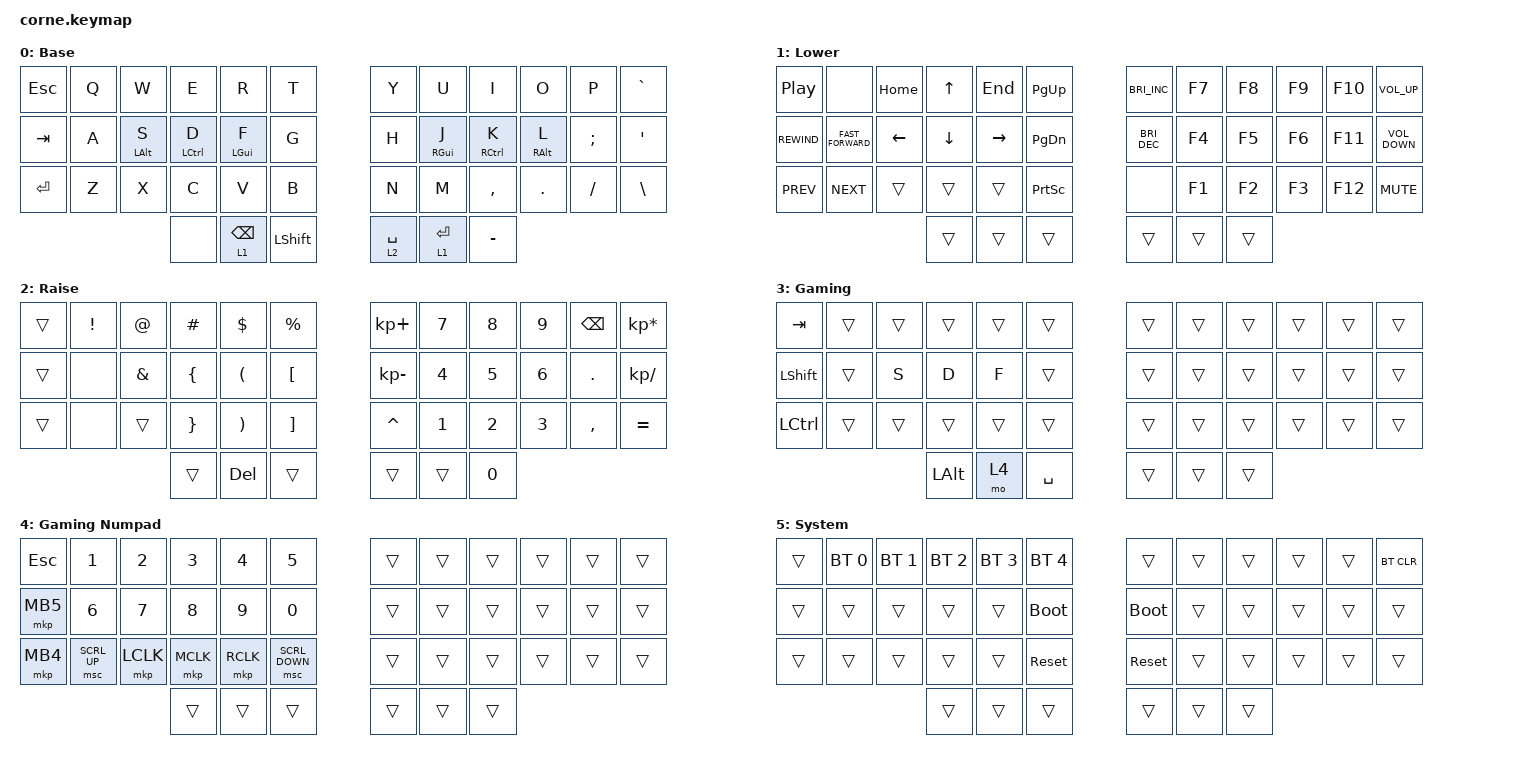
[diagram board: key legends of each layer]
/*
 * Copyright (c) 2020 The ZMK Contributors
 *
 * SPDX-License-Identifier: MIT
 */

#include <behaviors.dtsi>
#include <dt-bindings/zmk/bt.h>
#include <dt-bindings/zmk/keys.h>
#include <dt-bindings/zmk/pointing.h>

/ {
    behaviors {
        hrm_left: hrm_left {
            compatible = "zmk,behavior-hold-tap";
            display-name = "HRM_LEFT";
            bindings = <&kp>, <&kp>;

            #binding-cells = <2>;
            flavor = "balanced";
            tapping-term-ms = <280>;
            quick-tap-ms = <175>;
            require-prior-idle-ms = <150>;
            hold-trigger-on-release;
            hold-trigger-key-positions = <6 8 6 7 18 19 30 31 39 40 6 7 8 9 18 19 20 21 30 31 32 33 39 40 41 6 7 8 9 10 11 18 19 20 21 22 23 30 31 32 33 34 35 39>;
            label = "krm_";
        };

        hrm_right: hrm_right {
            compatible = "zmk,behavior-hold-tap";
            display-name = "HRM_RIGHT";
            bindings = <&kp>, <&kp>;

            #binding-cells = <2>;
            flavor = "balanced";
            tapping-term-ms = <280>;
            quick-tap-ms = <175>;
            require-prior-idle-ms = <150>;
            hold-trigger-key-positions = <0 1 2 3 4 5 12 13 14 15 16 17 24 25 26 27 28 29 36 37 38>;
            hold-trigger-on-release;
        };

        lt_thumbs: lt_thumbs {
            compatible = "zmk,behavior-hold-tap";
            display-name = "LT_THUMBS";
            bindings = <&mo>, <&kp>;

            #binding-cells = <2>;
            flavor = "tap-preferred";
            tapping-term-ms = <200>;
            quick-tap-ms = <200>;
            require-prior-idle-ms = <125>;
        };
    };

    combos {
        compatible = "zmk,combos";

        system_layer_combo {
            bindings = <&sl 5>;
            key-positions = <36 41>;
        };

        gaming_layer_combo {
            bindings = <&tog 3>;
            key-positions = <37 40>;
        };
    };

    keymap {
        compatible = "zmk,keymap";

        default_layer {
            // -----------------------------------------------------------------------------------------
            // |  TAB |  Q  |  W  |  E  |  R  |  T  |   |  Y  |  U   |  I  |  O  |  P  | BKSP |
            // | CTRL |  A  |  S  |  D  |  F  |  G  |   |  H  |  J   |  K  |  L  |  ;  |  '   |
            // | SHFT |  Z  |  X  |  C  |  V  |  B  |   |  N  |  M   |  ,  |  .  |  /  | ESC  |
            //                    | GUI | LWR | SPC |   | ENT | RSE  | ALT |

            display-name = "Base";
            bindings = <
&kp ESCAPE  &kp Q  &kp W                 &kp E                     &kp R                   &kp T             &kp Y               &kp U                   &kp I                       &kp O                   &kp P     &kp GRAVE
&kp TAB     &kp A  &hrm_left LEFT_ALT S  &hrm_left LEFT_CONTROL D  &hrm_left LEFT_GUI F    &kp G             &kp H               &hrm_right RIGHT_GUI J  &hrm_right RIGHT_CONTROL K  &hrm_right RIGHT_ALT L  &kp SEMI  &kp SQT
&kp ENTER   &kp Z  &kp X                 &kp C                     &kp V                   &kp B             &kp N               &kp M                   &kp COMMA                   &kp DOT                 &kp FSLH  &kp BACKSLASH
                                         &none                     &lt_thumbs 1 BACKSPACE  &kp LEFT_SHIFT    &lt_thumbs 2 SPACE  &lt_thumbs 1 RETURN     &kp MINUS
            >;
        };

        lower_layer {
            // -----------------------------------------------------------------------------------------
            // |  TAB |  1  |  2  |  3  |  4  |  5  |   |  6  |  7  |  8  |  9  |  0  | BKSP |
            // | BTCLR| BT1 | BT2 | BT3 | BT4 | BT5 |   | LFT | DWN |  UP | RGT |     |      |
            // | SHFT |     |     |     |     |     |   |     |     |     |     |     |      |
            //                    | GUI |     | SPC |   | ENT |     | ALT |

            display-name = "Lower";
            bindings = <
&kp C_PLAY_PAUSE  &none               &kp HOME  &kp UP    &kp END    &kp PAGE_UP        &kp C_BRIGHTNESS_INC  &kp F7  &kp F8  &kp F9  &kp F10  &kp K_VOLUME_UP
&kp C_REWIND      &kp C_FAST_FORWARD  &kp LEFT  &kp DOWN  &kp RIGHT  &kp PAGE_DOWN      &kp C_BRIGHTNESS_DEC  &kp F4  &kp F5  &kp F6  &kp F11  &kp K_VOLUME_DOWN
&kp C_PREV        &kp C_NEXT          &trans    &trans    &trans     &kp PRINTSCREEN    &none                 &kp F1  &kp F2  &kp F3  &kp F12  &kp K_MUTE
                                                &trans    &trans     &trans             &trans                &trans  &trans
            >;
        };

        raise_layer {
            // -----------------------------------------------------------------------------------------
            // |  TAB |  !  |  @  |  #  |  $  |  %  |   |  ^  |  &  |  *  |  (  |  )  | BKSP |
            // | CTRL |     |     |     |     |     |   |  -  |  =  |  [  |  ]  |  \  |  `   |
            // | SHFT |     |     |     |     |     |   |  _  |  +  |  {  |  }  | "|" |  ~   |
            //                    | GUI |     | SPC |   | ENT |     | ALT |

            display-name = "Raise";
            bindings = <
&trans  &kp EXCL  &kp AT         &kp HASH         &kp DLLR               &kp PRCNT            &kp KP_PLUS   &kp NUMBER_7  &kp NUMBER_8  &kp NUMBER_9  &kp BACKSPACE  &kp KP_MULTIPLY
&trans  &none     &kp AMPERSAND  &kp LEFT_BRACE   &kp LEFT_PARENTHESIS   &kp LEFT_BRACKET     &kp KP_MINUS  &kp NUMBER_4  &kp NUMBER_5  &kp NUMBER_6  &kp PERIOD     &kp KP_SLASH
&trans  &none     &trans         &kp RIGHT_BRACE  &kp RIGHT_PARENTHESIS  &kp RIGHT_BRACKET    &kp CARET     &kp NUMBER_1  &kp NUMBER_2  &kp NUMBER_3  &kp COMMA      &kp EQUAL
                                 &trans           &kp DEL                &trans               &trans        &trans        &kp NUMBER_0
            >;
        };

        gaming_layer {
            display-name = "Gaming";
            bindings = <
&kp TAB    &trans  &trans  &trans        &trans  &trans       &trans  &trans  &trans  &trans  &trans  &trans
&kp LSHFT  &trans  &kp S   &kp D         &kp F   &trans       &trans  &trans  &trans  &trans  &trans  &trans
&kp LCTRL  &trans  &trans  &trans        &trans  &trans       &trans  &trans  &trans  &trans  &trans  &trans
                           &kp LEFT_ALT  &mo 4   &kp SPACE    &trans  &trans  &trans
            >;
        };

        gaming_num_layer {
            display-name = "Gaming Numpad";
            bindings = <
&kp ESC   &kp NUMBER_1  &kp NUMBER_2  &kp NUMBER_3  &kp NUMBER_4  &kp NUMBER_5      &trans  &trans  &trans  &trans  &trans  &trans
&mkp MB5  &kp NUMBER_6  &kp NUMBER_7  &kp NUMBER_8  &kp NUMBER_9  &kp NUMBER_0      &trans  &trans  &trans  &trans  &trans  &trans
&mkp MB4  &msc SCRL_UP  &mkp LCLK     &mkp MCLK     &mkp RCLK     &msc SCRL_DOWN    &trans  &trans  &trans  &trans  &trans  &trans
                                      &trans        &trans        &trans            &trans  &trans  &trans
            >;
        };

        system {
            display-name = "System";
            bindings = <
&trans  &bt BT_SEL 0  &bt BT_SEL 1  &bt BT_SEL 2  &bt BT_SEL 3  &bt BT_SEL 4    &trans       &trans  &trans  &trans  &trans  &bt BT_CLR
&trans  &trans        &trans        &trans        &trans        &bootloader     &bootloader  &trans  &trans  &trans  &trans  &trans
&trans  &trans        &trans        &trans        &trans        &sys_reset      &sys_reset   &trans  &trans  &trans  &trans  &trans
                                    &trans        &trans        &trans          &trans       &trans  &trans
            >;
        };

        extra_1 { status = "reserved"; };

        extra_2 { status = "reserved"; };

        extra_3 { status = "reserved"; };
    };
};
